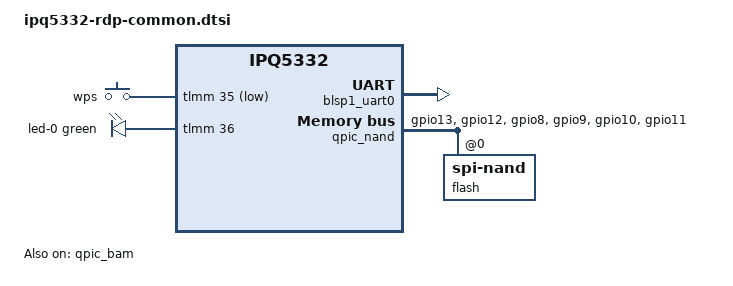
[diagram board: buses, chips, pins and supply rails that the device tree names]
// SPDX-License-Identifier: BSD-3-Clause
/*
 * IPQ5332 RDP board common device tree source
 *
 * Copyright (c) 2022-2023 Qualcomm Innovation Center, Inc. All rights reserved.
 */

/dts-v1/;

#include <dt-bindings/gpio/gpio.h>
#include <dt-bindings/input/input.h>
#include <dt-bindings/leds/common.h>
#include "ipq5332.dtsi"

/ {
	aliases {
		serial0 = &blsp1_uart0;
	};

	chosen {
		stdout-path = "serial0";
	};

	gpio-keys {
		compatible = "gpio-keys";
		pinctrl-0 = <&gpio_keys_default>;
		pinctrl-names = "default";

		button-wps {
			label = "wps";
			linux,code = <KEY_WPS_BUTTON>;
			gpios = <&tlmm 35 GPIO_ACTIVE_LOW>;
			debounce-interval = <60>;
		};
	};

	leds {
		compatible = "gpio-leds";
		pinctrl-0 = <&gpio_leds_default>;
		pinctrl-names = "default";

		led-0 {
			color = <LED_COLOR_ID_GREEN>;
			function = LED_FUNCTION_WLAN;
			gpios = <&tlmm 36 GPIO_ACTIVE_HIGH>;
			linux,default-trigger = "phy0tx";
			default-state = "off";
		};
	};
};

&blsp1_uart0 {
	pinctrl-0 = <&serial_0_pins>;
	pinctrl-names = "default";
	status = "okay";
};

&sleep_clk {
	clock-frequency = <32000>;
};

&xo_board {
	clock-frequency = <24000000>;
};

/* PINCTRL */
&tlmm {
	gpio_keys_default: gpio-keys-default-state {
		pins = "gpio35";
		function = "gpio";
		drive-strength = <8>;
		bias-pull-up;
	};

	gpio_leds_default: gpio-leds-default-state {
		pins = "gpio36";
		function = "gpio";
		drive-strength = <8>;
		bias-pull-down;
	};

	qpic_snand_default_state: qpic-snand-default-state {
		clock-pins {
			pins = "gpio13";
			function = "qspi_clk";
			drive-strength = <8>;
			bias-disable;
		};

		cs-pins {
			pins = "gpio12";
			function = "qspi_cs";
			drive-strength = <8>;
			bias-disable;
		};

		data-pins {
			pins = "gpio8", "gpio9", "gpio10", "gpio11";
			function = "qspi_data";
			drive-strength = <8>;
			bias-disable;
		};
	};
};

&qpic_bam {
	status = "okay";
};

&qpic_nand {
	pinctrl-0 = <&qpic_snand_default_state>;
	pinctrl-names = "default";

	status = "okay";

	flash@0 {
		compatible = "spi-nand";
		reg = <0>;
		#address-cells = <1>;
		#size-cells = <1>;
		nand-ecc-engine = <&qpic_nand>;
		nand-ecc-strength = <4>;
		nand-ecc-step-size = <512>;
	};
};
